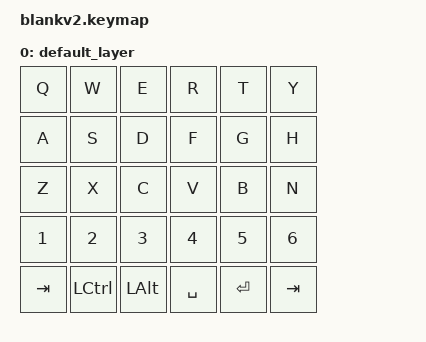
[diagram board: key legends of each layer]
#include <behaviors.dtsi>
#include <dt-bindings/zmk/keys.h>

/ {
    keymap {
        compatible = "zmk,keymap";

        default_layer {
            bindings = <
                /* Row 0 */
                &kp Q     &kp W     &kp E     &kp R     &kp T     &kp Y

                /* Row 1 */
                &kp A     &kp S     &kp D     &kp F     &kp G     &kp H

                /* Row 2 */
                &kp Z     &kp X     &kp C     &kp V     &kp B     &kp N

                /* Row 3 */
                &kp 1     &kp 2     &kp 3     &kp 4     &kp 5     &kp 6

                /* Row 4 */
                &kp TAB   &kp LCTRL &kp LALT  &kp SPACE &kp ENTER &kp TAB
            >;
        };
    };
};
